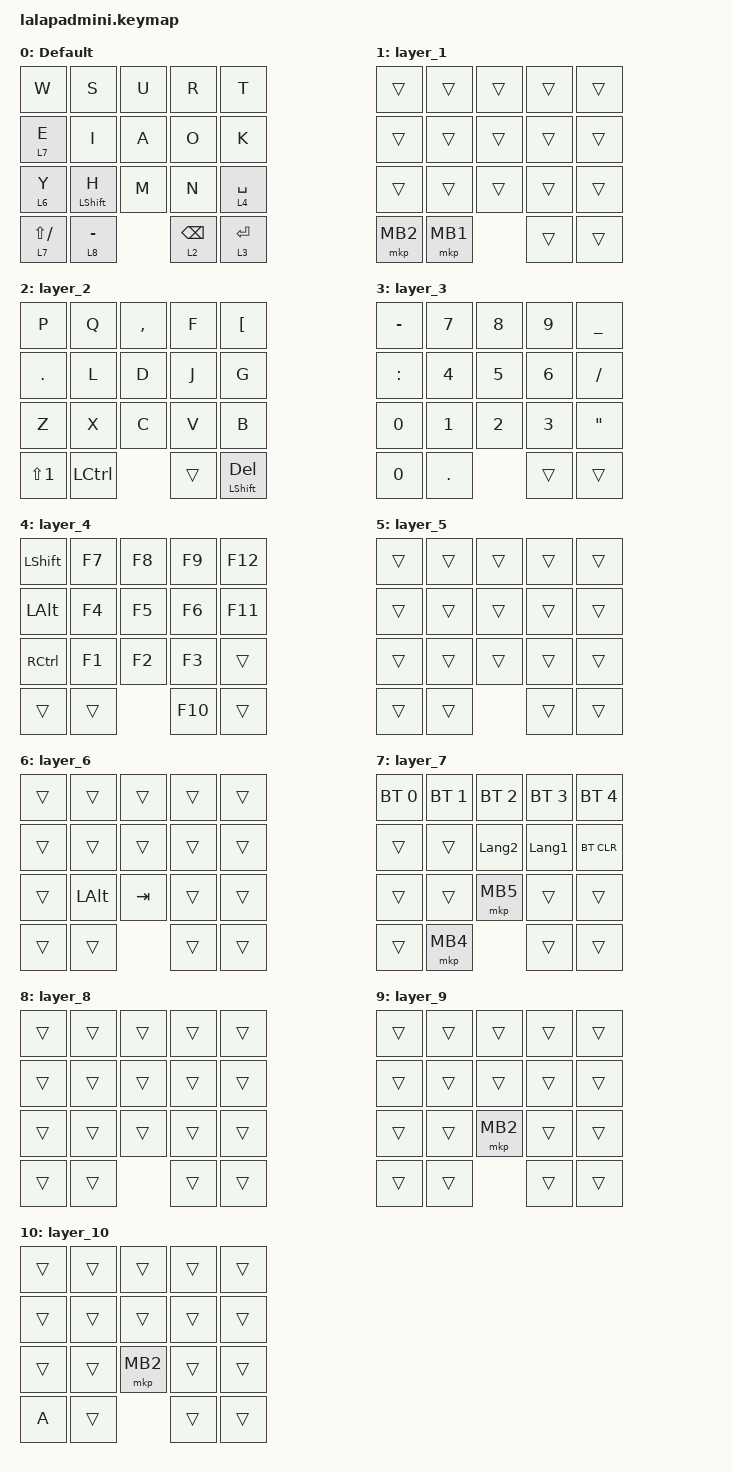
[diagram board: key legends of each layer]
#include <input/processors.dtsi>
#include <zephyr/dt-bindings/input/input-event-codes.h>
#include <behaviors.dtsi>
#include <dt-bindings/zmk/bt.h>
#include <dt-bindings/zmk/keys.h>
#include <dt-bindings/zmk/pointing.h>

&mkp_input_listener { input-processors = <&zip_temp_layer 1 380>; };

#define DEFAULT_LAYER   0

// OS設定を日本語キーボードのまま使用するための変換定義

#define JP_DQUOTE       AT                // "
#define JP_AMPERSAND    CARET             // &
#define JP_QUOTE        AMPERSAND         // '
#define JP_EQUAL        UNDER             // =
#define JP_CARET        EQUAL             // ^
#define JP_YEN          0x89              // ¥
#define JP_PLUS         COLON             // +
#define JP_TILDE        PLUS              // ~
#define JP_PIPE         LS(0x89)          // |
#define JP_AT           LEFT_BRACKET      // @
#define JP_COLON        SINGLE_QUOTE      // :
#define JP_ASTERISK     DOUBLE_QUOTES     // *
#define JP_BACKQUOTE    LEFT_BRACE        // `
#define JP_UNDERSCORE   LS(0x87)          // _
#define JP_LBRACKET     RIGHT_BRACKET     // [
#define JP_RBRACKET     BACKSLASH         // ]
#define JP_LPAREN       ASTERISK          // (
#define JP_RPAREN       LEFT_PARENTHESIS  // )
#define JP_LBRACE       RIGHT_BRACE       // {
#define JP_RBRACE       PIPE              // }
#define JP_KANA         LANGUAGE_1        // かな
#define JP_EISU         LANGUAGE_2        // 英数
#define JP_HANZEN       GRAVE             // 半角/全角
#define JP_DOLLAR       DOLLAR             // $

&mt {
    quick-tap-ms = <300>;
    flavor = "balanced";
};

&lt {
    quick-tap-ms = <300>;
    flavor = "balanced";
};

// Mouse Scroll Value

#define ZMK_POINTING_DEFAULT_SCRL_VAL 100

// cirque trackpad input&layer control

&glidepoint_listener_L {
    input-processors =
        <&zip_xy_transform (INPUT_TRANSFORM_XY_SWAP | INPUT_TRANSFORM_X_INVERT | INPUT_TRANSFORM_Y_INVERT)>,
        <&zip_xy_scaler 3 2>,
        <&zip_temp_layer 1 350>;

    lowspeedmode {
        layers = <6>;
        input-processors =
            <&zip_xy_transform (INPUT_TRANSFORM_XY_SWAP | INPUT_TRANSFORM_X_INVERT | INPUT_TRANSFORM_Y_INVERT)>,
            <&zip_xy_scaler 1 2>,
            <&zip_temp_layer 1 300>;
    };

    highspeedmode {
        layers = <8>;
        input-processors =
            <&zip_xy_transform (INPUT_TRANSFORM_XY_SWAP | INPUT_TRANSFORM_X_INVERT | INPUT_TRANSFORM_Y_INVERT)>,
            <&zip_xy_scaler 2 1>,
            <&zip_temp_layer 1 300>;
    };

    scroller {
        layers = <7>;
        input-processors =
            <&zip_xy_to_scroll_mapper>,
            <&zip_scroll_scaler 1 30>;
    };

    handscroller {
        layers = <9>;
        input-processors =
            <&zip_xy_to_scroll_mapper>,
            <&zip_scroll_scaler 1 26>;
    };

    handpointer {
        layers = <10>;
        input-processors =
            <&zip_xy_transform (INPUT_TRANSFORM_Y_INVERT)>,
            <&zip_xy_scaler 2 3>,
            <&zip_temp_layer 1 300>;
    };

    /omit-if-no-ref/

    zip_temp_layer: zip_temp_layer {
        compatible = "zmk,input-processor-temp-layer";
        #input-processor-cells = <2>;
        require-prior-idle-ms = <400>;
        excluded-positions = <
            15 //
            16 //
        >;
    };
};

/ {
    behaviors {
        mt2: mod_tap2 {
            compatible = "zmk,behavior-hold-tap";
            #binding-cells = <2>;
            flavor = "tap-preferred";
            tapping-term-ms = <200>;
            quick-tap-ms = <200>;
            require-prior-idle-ms = <125>;
            bindings = <&kp>, <&kp>;
        };

        tap_dance_layer_1and2: tap_dance_layer_1and2 {
            compatible = "zmk,behavior-tap-dance";
            label = "td_mo12";
            #binding-cells = <0>;
            bindings = <&mo 1>, <&mo 2>;
        };
    };

    combos {
        compatible = "zmk,combos";

        COMBO_TAB {
            bindings = <&tog 9>;
            key-positions = <1 0>;
            layers = <0>;
        };

        COMBO_WIN {
            bindings = <&mo 6>;
            key-positions = <15 16>;
        };

        mo10 {
            bindings = <&tog 9>;
            key-positions = <0 1>;
            layers = <9>;
        };

        to10 {
            bindings = <&tog 10>;
            key-positions = <2 3>;
            layers = <0>;
        };

        toto10 {
            bindings = <&tog 10>;
            key-positions = <2 3>;
            layers = <10>;
        };
    };

    macros {
        MACRO_LTAP: MACRO_LTAP {
            compatible = "zmk,behavior-macro";
            #binding-cells = <0>;
            bindings = <&mkp LCLK>;
            label = "MACRO_LTAP";
        };
    };

    keymap {
        compatible = "zmk,keymap";

        DEFAULT_LAYER {
            display-name = "Default";
            bindings = <
&kp W            &kp S             &kp U  &kp R            &kp T
&lt 7 E          &kp I             &kp A  &kp O            &kp K
&lt 6 Y          &mt LEFT_SHIFT H  &kp M  &kp N            &lt 4 SPACE
&lt 7 LS(SLASH)  &lt 8 MINUS              &lt 2 BACKSPACE  &lt 3 ENTER
            >;
        };

        layer_1 {
            bindings = <
&trans    &trans    &trans  &trans  &trans
&trans    &trans    &trans  &trans  &trans
&trans    &trans    &trans  &trans  &trans
&mkp MB2  &mkp MB1          &trans  &trans
            >;
        };

        layer_2 {
            bindings = <
&kp P             &kp Q             &kp COMMA  &kp F   &kp JP_AT
&kp PERIOD        &kp L             &kp D      &kp J   &kp G
&kp Z             &kp X             &kp C      &kp V   &kp B
&kp LS(NUMBER_1)  &kp LEFT_CONTROL             &trans  &mt LEFT_SHIFT DEL
            >;
        };

        layer_3 {
            bindings = <
&kp MINUS    &kp N7        &kp N8        &kp N9        &kp JP_EQUAL
&kp JP_PLUS  &kp NUMBER_4  &kp N5        &kp NUMBER_6  &kp SLASH
&kp N0       &kp NUMBER_1  &kp NUMBER_2  &kp NUMBER_3  &kp JP_ASTERISK
&kp N0       &kp PERIOD                  &trans        &trans
            >;
        };

        layer_4 {
            bindings = <
&kp LEFT_SHIFT  &kp F7  &kp F8  &kp F9   &kp F12
&kp LEFT_ALT    &kp F4  &kp F5  &kp F6   &kp F11
&kp RCTRL       &kp F1  &kp F2  &kp F3   &trans
&trans          &trans          &kp F10  &trans
            >;
        };

        layer_5 {
            bindings = <
&trans  &trans  &trans  &trans  &trans
&trans  &trans  &trans  &trans  &trans
&trans  &trans  &trans  &trans  &trans
&trans  &trans          &trans  &trans
            >;
        };

        layer_6 {
            bindings = <
&trans  &trans        &trans   &trans  &trans
&trans  &trans        &trans   &trans  &trans
&trans  &kp LEFT_ALT  &kp TAB  &trans  &trans
&trans  &trans                 &trans  &trans
            >;
        };

        layer_7 {
            bindings = <
&bt BT_SEL 0  &bt BT_SEL 1  &bt BT_SEL 2  &bt BT_SEL 3  &bt BT_SEL 4
&trans        &trans        &kp JP_EISU   &kp JP_KANA   &bt BT_CLR
&trans        &trans        &mkp MB5      &trans        &trans
&trans        &mkp MB4                    &trans        &trans
            >;
        };

        layer_8 {
            bindings = <
&trans  &trans  &trans  &trans  &trans
&trans  &trans  &trans  &trans  &trans
&trans  &trans  &trans  &trans  &trans
&trans  &trans          &trans  &trans
            >;
        };

        layer_9 {
            bindings = <
&trans  &trans  &trans    &trans  &trans
&trans  &trans  &trans    &trans  &trans
&trans  &trans  &mkp MB2  &trans  &trans
&trans  &trans            &trans  &trans
            >;
        };

        layer_10 {
            bindings = <
&trans  &trans  &trans    &trans  &trans
&trans  &trans  &trans    &trans  &trans
&trans  &trans  &mkp MB2  &trans  &trans
&kp A   &trans            &trans  &trans
            >;
        };
    };
};
